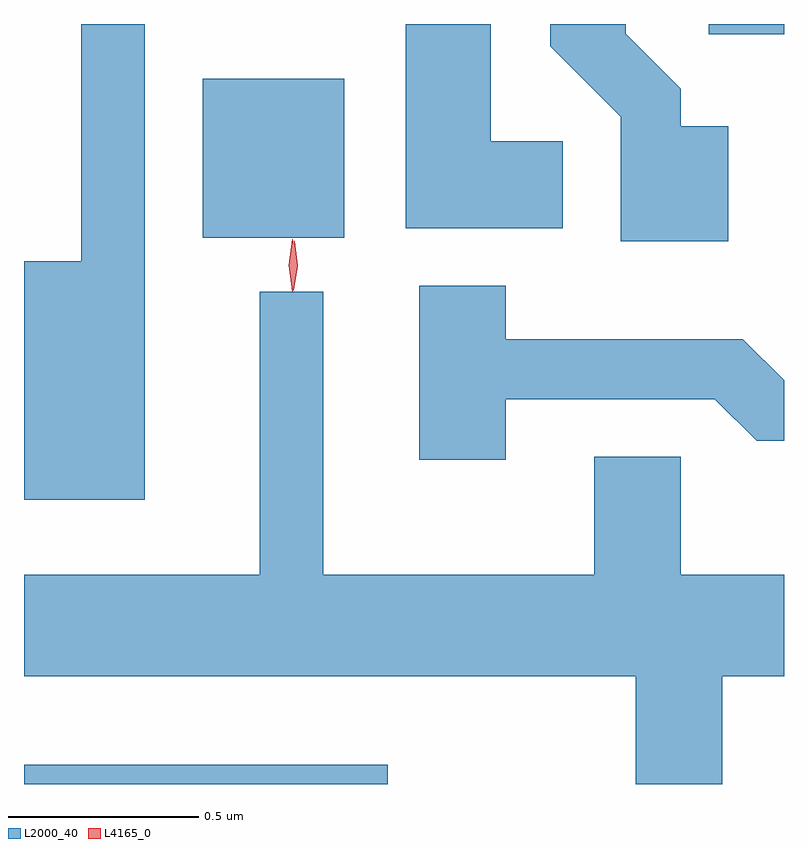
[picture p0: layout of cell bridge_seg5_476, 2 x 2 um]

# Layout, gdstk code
import gdstk
lib = gdstk.Library(unit=1e-6, precision=1e-09)
def R(c, l, rs):  # rectangles x0, y0, x1, y1
    for r in rs: c.add(gdstk.rectangle(r[:2], r[2:], *l))
def P(c, l, *ps):  # polygons
    for p in ps: c.add(gdstk.Polygon(p, *l))
L2000_40 = (2000, 40)
L4165_0 = (4165, 0)

bridge_seg5_476 = lib.new_cell('bridge_seg5_476')
R(bridge_seg5_476, L2000_40, [(209.101,1492.033,210.058,1492.084), (209.571,1493.471,209.944,1493.889), (210.903,1494.006,211.101,1494.033)])
P(bridge_seg5_476, L2000_40, [(209.419,1494.033),(209.251,1494.033),(209.251,1493.409),(209.101,1493.409),(209.101,1492.781),(209.419,1492.781)],
  [(210.519,1493.724),(210.329,1493.724),(210.329,1494.033),(210.106,1494.033),(210.106,1493.496),(210.519,1493.496)],
  [(210.954,1493.764),(210.829,1493.764),(210.829,1493.862),(210.684,1494.007),(210.684,1494.033),(210.486,1494.033),(210.486,1493.974),(210.671,1493.789),(210.671,1493.461),(210.954,1493.461)],
  [(210.369,1493.046),(210.919,1493.046),(211.029,1492.936),(211.101,1492.936),(211.101,1493.095),(210.992,1493.204),(210.369,1493.204),(210.369,1493.344),(210.141,1493.344),(210.141,1492.886),(210.369,1492.886)],
  [(210.939,1492.316),(211.101,1492.316),(211.101,1492.584),(210.829,1492.584),(210.829,1492.894),(210.601,1492.894),(210.601,1492.584),(209.889,1492.584),(209.889,1493.328),(209.721,1493.328),(209.721,1492.584),(209.101,1492.584),(209.101,1492.316),(210.711,1492.316),(210.711,1492.033),(210.939,1492.033)])
P(bridge_seg5_476, L4165_0, [(209.808,1493.329),(209.807,1493.33),(209.798,1493.398),(209.807,1493.466),(209.808,1493.466),(209.808,1493.466),(209.818,1493.398),(209.808,1493.33)],
  [(209.81,1493.333),(209.801,1493.397),(209.812,1493.461),(209.812,1493.462),(209.813,1493.461),(209.822,1493.397),(209.811,1493.333),(209.811,1493.333)])

lib.write_gds('bridge_seg5_476.gds')
